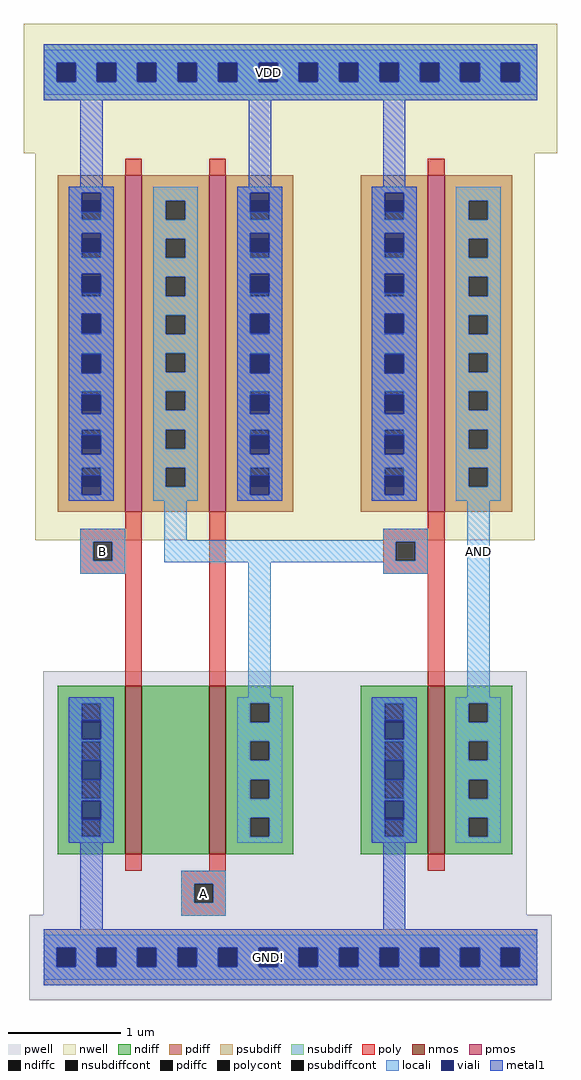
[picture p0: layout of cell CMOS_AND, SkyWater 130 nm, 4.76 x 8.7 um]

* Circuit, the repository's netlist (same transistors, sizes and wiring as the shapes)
* NGSPICE file created from CMOS_AND.ext - technology: sky130A

.subckt CMOS_AND GND AND A B VDD
X0 AND a_30_440# GND GND sky130_fd_pr__nfet_01v8 ad=9e+11p pd=4.2e+06u as=1.8e+12p ps=8.4e+06u w=1.5e+06u l=150000u
X1 VDD A a_30_440# VDD sky130_fd_pr__pfet_01v8 ad=5.4e+12p pd=2.16e+07u as=1.8e+12p ps=7.2e+06u w=3e+06u l=150000u
X2 a_30_n170# B GND GND sky130_fd_pr__nfet_01v8 ad=9e+11p pd=4.2e+06u as=0p ps=0u w=1.5e+06u l=150000u
X3 AND a_30_440# VDD VDD sky130_fd_pr__pfet_01v8 ad=1.8e+12p pd=7.2e+06u as=0p ps=0u w=3e+06u l=150000u
X4 a_30_440# B VDD VDD sky130_fd_pr__pfet_01v8 ad=0p pd=0u as=0p ps=0u w=3e+06u l=150000u
X5 a_30_440# A a_30_n170# GND sky130_fd_pr__nfet_01v8 ad=9e+11p pd=4.2e+06u as=0p ps=0u w=1.5e+06u l=150000u
.ends

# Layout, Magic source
magic
tech sky130A
magscale 1 2
<< nwell >>
rect -181 1080 771 1310
rect -160 390 730 1080
<< pwell >>
rect -146 -278 716 156
rect -171 -430 761 -278
<< nmos >>
rect 0 -170 30 130
rect 150 -170 180 130
rect 540 -170 570 130
<< pmos >>
rect 0 440 30 1040
rect 150 440 180 1040
rect 540 440 570 1040
<< ndiff >>
rect -120 99 0 130
rect -120 65 -77 99
rect -43 65 0 99
rect -120 31 0 65
rect -120 -3 -77 31
rect -43 -3 0 31
rect -120 -37 0 -3
rect -120 -71 -77 -37
rect -43 -71 0 -37
rect -120 -105 0 -71
rect -120 -139 -77 -105
rect -43 -139 0 -105
rect -120 -170 0 -139
rect 30 -170 150 130
rect 180 99 300 130
rect 180 65 223 99
rect 257 65 300 99
rect 180 31 300 65
rect 180 -3 223 31
rect 257 -3 300 31
rect 180 -37 300 -3
rect 180 -71 223 -37
rect 257 -71 300 -37
rect 180 -105 300 -71
rect 180 -139 223 -105
rect 257 -139 300 -105
rect 180 -170 300 -139
rect 420 99 540 130
rect 420 65 463 99
rect 497 65 540 99
rect 420 31 540 65
rect 420 -3 463 31
rect 497 -3 540 31
rect 420 -37 540 -3
rect 420 -71 463 -37
rect 497 -71 540 -37
rect 420 -105 540 -71
rect 420 -139 463 -105
rect 497 -139 540 -105
rect 420 -170 540 -139
rect 570 99 690 130
rect 570 65 613 99
rect 647 65 690 99
rect 570 31 690 65
rect 570 -3 613 31
rect 647 -3 690 31
rect 570 -37 690 -3
rect 570 -71 613 -37
rect 647 -71 690 -37
rect 570 -105 690 -71
rect 570 -139 613 -105
rect 647 -139 690 -105
rect 570 -170 690 -139
<< pdiff >>
rect -120 995 0 1040
rect -120 961 -77 995
rect -43 961 0 995
rect -120 927 0 961
rect -120 893 -77 927
rect -43 893 0 927
rect -120 859 0 893
rect -120 825 -77 859
rect -43 825 0 859
rect -120 791 0 825
rect -120 757 -77 791
rect -43 757 0 791
rect -120 723 0 757
rect -120 689 -77 723
rect -43 689 0 723
rect -120 655 0 689
rect -120 621 -77 655
rect -43 621 0 655
rect -120 587 0 621
rect -120 553 -77 587
rect -43 553 0 587
rect -120 519 0 553
rect -120 485 -77 519
rect -43 485 0 519
rect -120 440 0 485
rect 30 995 150 1040
rect 30 961 73 995
rect 107 961 150 995
rect 30 927 150 961
rect 30 893 73 927
rect 107 893 150 927
rect 30 859 150 893
rect 30 825 73 859
rect 107 825 150 859
rect 30 791 150 825
rect 30 757 73 791
rect 107 757 150 791
rect 30 723 150 757
rect 30 689 73 723
rect 107 689 150 723
rect 30 655 150 689
rect 30 621 73 655
rect 107 621 150 655
rect 30 587 150 621
rect 30 553 73 587
rect 107 553 150 587
rect 30 519 150 553
rect 30 485 73 519
rect 107 485 150 519
rect 30 440 150 485
rect 180 995 300 1040
rect 180 961 223 995
rect 257 961 300 995
rect 180 927 300 961
rect 180 893 223 927
rect 257 893 300 927
rect 180 859 300 893
rect 180 825 223 859
rect 257 825 300 859
rect 180 791 300 825
rect 180 757 223 791
rect 257 757 300 791
rect 180 723 300 757
rect 180 689 223 723
rect 257 689 300 723
rect 180 655 300 689
rect 180 621 223 655
rect 257 621 300 655
rect 180 587 300 621
rect 180 553 223 587
rect 257 553 300 587
rect 180 519 300 553
rect 180 485 223 519
rect 257 485 300 519
rect 180 440 300 485
rect 420 995 540 1040
rect 420 961 463 995
rect 497 961 540 995
rect 420 927 540 961
rect 420 893 463 927
rect 497 893 540 927
rect 420 859 540 893
rect 420 825 463 859
rect 497 825 540 859
rect 420 791 540 825
rect 420 757 463 791
rect 497 757 540 791
rect 420 723 540 757
rect 420 689 463 723
rect 497 689 540 723
rect 420 655 540 689
rect 420 621 463 655
rect 497 621 540 655
rect 420 587 540 621
rect 420 553 463 587
rect 497 553 540 587
rect 420 519 540 553
rect 420 485 463 519
rect 497 485 540 519
rect 420 440 540 485
rect 570 995 690 1040
rect 570 961 613 995
rect 647 961 690 995
rect 570 927 690 961
rect 570 893 613 927
rect 647 893 690 927
rect 570 859 690 893
rect 570 825 613 859
rect 647 825 690 859
rect 570 791 690 825
rect 570 757 613 791
rect 647 757 690 791
rect 570 723 690 757
rect 570 689 613 723
rect 647 689 690 723
rect 570 655 690 689
rect 570 621 613 655
rect 647 621 690 655
rect 570 587 690 621
rect 570 553 613 587
rect 647 553 690 587
rect 570 519 690 553
rect 570 485 613 519
rect 647 485 690 519
rect 570 440 690 485
<< ndiffc >>
rect -77 65 -43 99
rect -77 -3 -43 31
rect -77 -71 -43 -37
rect -77 -139 -43 -105
rect 223 65 257 99
rect 223 -3 257 31
rect 223 -71 257 -37
rect 223 -139 257 -105
rect 463 65 497 99
rect 463 -3 497 31
rect 463 -71 497 -37
rect 463 -139 497 -105
rect 613 65 647 99
rect 613 -3 647 31
rect 613 -71 647 -37
rect 613 -139 647 -105
<< pdiffc >>
rect -77 961 -43 995
rect -77 893 -43 927
rect -77 825 -43 859
rect -77 757 -43 791
rect -77 689 -43 723
rect -77 621 -43 655
rect -77 553 -43 587
rect -77 485 -43 519
rect 73 961 107 995
rect 73 893 107 927
rect 73 825 107 859
rect 73 757 107 791
rect 73 689 107 723
rect 73 621 107 655
rect 73 553 107 587
rect 73 485 107 519
rect 223 961 257 995
rect 223 893 257 927
rect 223 825 257 859
rect 223 757 257 791
rect 223 689 257 723
rect 223 621 257 655
rect 223 553 257 587
rect 223 485 257 519
rect 463 961 497 995
rect 463 893 497 927
rect 463 825 497 859
rect 463 757 497 791
rect 463 689 497 723
rect 463 621 497 655
rect 463 553 497 587
rect 463 485 497 519
rect 613 961 647 995
rect 613 893 647 927
rect 613 825 647 859
rect 613 757 647 791
rect 613 689 647 723
rect 613 621 647 655
rect 613 553 647 587
rect 613 485 647 519
<< psubdiff >>
rect -145 -337 735 -304
rect -145 -371 -122 -337
rect -88 -371 -50 -337
rect -16 -371 22 -337
rect 56 -371 94 -337
rect 128 -371 166 -337
rect 200 -371 238 -337
rect 272 -371 310 -337
rect 344 -371 382 -337
rect 416 -371 454 -337
rect 488 -371 526 -337
rect 560 -371 598 -337
rect 632 -371 670 -337
rect 704 -371 735 -337
rect -145 -404 735 -371
<< nsubdiff >>
rect -145 1241 735 1274
rect -145 1207 -122 1241
rect -88 1207 -50 1241
rect -16 1207 22 1241
rect 56 1207 94 1241
rect 128 1207 166 1241
rect 200 1207 238 1241
rect 272 1207 310 1241
rect 344 1207 382 1241
rect 416 1207 454 1241
rect 488 1207 526 1241
rect 560 1207 598 1241
rect 632 1207 670 1241
rect 704 1207 735 1241
rect -145 1174 735 1207
<< psubdiffcont >>
rect -122 -371 -88 -337
rect -50 -371 -16 -337
rect 22 -371 56 -337
rect 94 -371 128 -337
rect 166 -371 200 -337
rect 238 -371 272 -337
rect 310 -371 344 -337
rect 382 -371 416 -337
rect 454 -371 488 -337
rect 526 -371 560 -337
rect 598 -371 632 -337
rect 670 -371 704 -337
<< nsubdiffcont >>
rect -122 1207 -88 1241
rect -50 1207 -16 1241
rect 22 1207 56 1241
rect 94 1207 128 1241
rect 166 1207 200 1241
rect 238 1207 272 1241
rect 310 1207 344 1241
rect 382 1207 416 1241
rect 454 1207 488 1241
rect 526 1207 560 1241
rect 598 1207 632 1241
rect 670 1207 704 1241
<< poly >>
rect 0 1040 30 1070
rect 150 1040 180 1070
rect 540 1040 570 1070
rect 0 410 30 440
rect -80 387 30 410
rect -80 353 -57 387
rect -23 353 30 387
rect -80 330 30 353
rect 0 130 30 330
rect 150 130 180 440
rect 540 410 570 440
rect 460 387 570 410
rect 460 353 483 387
rect 517 353 570 387
rect 460 330 570 353
rect 540 130 570 330
rect 0 -200 30 -170
rect 150 -200 180 -170
rect 540 -200 570 -170
rect 100 -223 180 -200
rect 100 -257 123 -223
rect 157 -257 180 -223
rect 100 -280 180 -257
<< polycont >>
rect -57 353 -23 387
rect 483 353 517 387
rect 123 -257 157 -223
<< locali >>
rect -145 1241 735 1264
rect -145 1207 -122 1241
rect -88 1207 -50 1241
rect -16 1207 22 1241
rect 56 1207 94 1241
rect 128 1207 166 1241
rect 200 1207 238 1241
rect 272 1207 310 1241
rect 344 1207 382 1241
rect 416 1207 454 1241
rect 488 1207 526 1241
rect 560 1207 598 1241
rect 632 1207 670 1241
rect 704 1207 735 1241
rect -145 1184 735 1207
rect -100 1009 -20 1020
rect -100 961 -77 1009
rect -43 961 -20 1009
rect -100 937 -20 961
rect -100 893 -77 937
rect -43 893 -20 937
rect -100 865 -20 893
rect -100 825 -77 865
rect -43 825 -20 865
rect -100 793 -20 825
rect -100 757 -77 793
rect -43 757 -20 793
rect -100 723 -20 757
rect -100 687 -77 723
rect -43 687 -20 723
rect -100 655 -20 687
rect -100 615 -77 655
rect -43 615 -20 655
rect -100 587 -20 615
rect -100 543 -77 587
rect -43 543 -20 587
rect -100 519 -20 543
rect -100 471 -77 519
rect -43 471 -20 519
rect -100 460 -20 471
rect 50 995 130 1020
rect 50 961 73 995
rect 107 961 130 995
rect 50 927 130 961
rect 50 893 73 927
rect 107 893 130 927
rect 50 859 130 893
rect 50 825 73 859
rect 107 825 130 859
rect 50 791 130 825
rect 50 757 73 791
rect 107 757 130 791
rect 50 723 130 757
rect 50 689 73 723
rect 107 689 130 723
rect 50 655 130 689
rect 50 621 73 655
rect 107 621 130 655
rect 50 587 130 621
rect 50 553 73 587
rect 107 553 130 587
rect 50 519 130 553
rect 50 485 73 519
rect 107 485 130 519
rect 50 460 130 485
rect 200 1009 280 1020
rect 200 961 223 1009
rect 257 961 280 1009
rect 200 937 280 961
rect 200 893 223 937
rect 257 893 280 937
rect 200 865 280 893
rect 200 825 223 865
rect 257 825 280 865
rect 200 793 280 825
rect 200 757 223 793
rect 257 757 280 793
rect 200 723 280 757
rect 200 687 223 723
rect 257 687 280 723
rect 200 655 280 687
rect 200 615 223 655
rect 257 615 280 655
rect 200 587 280 615
rect 200 543 223 587
rect 257 543 280 587
rect 200 519 280 543
rect 200 471 223 519
rect 257 471 280 519
rect 200 460 280 471
rect 440 1009 520 1020
rect 440 961 463 1009
rect 497 961 520 1009
rect 440 937 520 961
rect 440 893 463 937
rect 497 893 520 937
rect 440 865 520 893
rect 440 825 463 865
rect 497 825 520 865
rect 440 793 520 825
rect 440 757 463 793
rect 497 757 520 793
rect 440 723 520 757
rect 440 687 463 723
rect 497 687 520 723
rect 440 655 520 687
rect 440 615 463 655
rect 497 615 520 655
rect 440 587 520 615
rect 440 543 463 587
rect 497 543 520 587
rect 440 519 520 543
rect 440 471 463 519
rect 497 471 520 519
rect 440 460 520 471
rect 590 995 670 1020
rect 590 961 613 995
rect 647 961 670 995
rect 590 927 670 961
rect 590 893 613 927
rect 647 893 670 927
rect 590 859 670 893
rect 590 825 613 859
rect 647 825 670 859
rect 590 791 670 825
rect 590 757 613 791
rect 647 757 670 791
rect 590 723 670 757
rect 590 689 613 723
rect 647 689 670 723
rect 590 655 670 689
rect 590 621 613 655
rect 647 621 670 655
rect 590 587 670 621
rect 590 553 613 587
rect 647 553 670 587
rect 590 519 670 553
rect 590 485 613 519
rect 647 485 670 519
rect 590 460 670 485
rect -80 387 0 410
rect -80 353 -57 387
rect -23 353 0 387
rect -80 330 0 353
rect 70 390 110 460
rect 460 390 540 410
rect 70 387 540 390
rect 70 353 483 387
rect 517 353 540 387
rect 70 350 540 353
rect 220 110 260 350
rect 460 330 540 350
rect 610 110 650 460
rect -100 99 -20 110
rect -100 35 -77 99
rect -43 35 -20 99
rect -100 31 -20 35
rect -100 -71 -77 31
rect -43 -71 -20 31
rect -100 -75 -20 -71
rect -100 -139 -77 -75
rect -43 -139 -20 -75
rect -100 -150 -20 -139
rect 200 99 280 110
rect 200 65 223 99
rect 257 65 280 99
rect 200 31 280 65
rect 200 -3 223 31
rect 257 -3 280 31
rect 200 -37 280 -3
rect 200 -71 223 -37
rect 257 -71 280 -37
rect 200 -105 280 -71
rect 200 -139 223 -105
rect 257 -139 280 -105
rect 200 -150 280 -139
rect 440 99 520 110
rect 440 35 463 99
rect 497 35 520 99
rect 440 31 520 35
rect 440 -71 463 31
rect 497 -71 520 31
rect 440 -75 520 -71
rect 440 -139 463 -75
rect 497 -139 520 -75
rect 440 -150 520 -139
rect 590 99 670 110
rect 590 65 613 99
rect 647 65 670 99
rect 590 31 670 65
rect 590 -3 613 31
rect 647 -3 670 31
rect 590 -37 670 -3
rect 590 -71 613 -37
rect 647 -71 670 -37
rect 590 -105 670 -71
rect 590 -139 613 -105
rect 647 -139 670 -105
rect 590 -150 670 -139
rect 100 -223 180 -200
rect 100 -257 123 -223
rect 157 -257 180 -223
rect 100 -280 180 -257
rect -145 -337 735 -314
rect -145 -371 -122 -337
rect -88 -371 -50 -337
rect -16 -371 22 -337
rect 56 -371 94 -337
rect 128 -371 166 -337
rect 200 -371 238 -337
rect 272 -371 310 -337
rect 344 -371 382 -337
rect 416 -371 454 -337
rect 488 -371 526 -337
rect 560 -371 598 -337
rect 632 -371 670 -337
rect 704 -371 735 -337
rect -145 -394 735 -371
<< viali >>
rect -122 1207 -88 1241
rect -50 1207 -16 1241
rect 22 1207 56 1241
rect 94 1207 128 1241
rect 166 1207 200 1241
rect 238 1207 272 1241
rect 310 1207 344 1241
rect 382 1207 416 1241
rect 454 1207 488 1241
rect 526 1207 560 1241
rect 598 1207 632 1241
rect 670 1207 704 1241
rect -77 995 -43 1009
rect -77 975 -43 995
rect -77 927 -43 937
rect -77 903 -43 927
rect -77 859 -43 865
rect -77 831 -43 859
rect -77 791 -43 793
rect -77 759 -43 791
rect -77 689 -43 721
rect -77 687 -43 689
rect -77 621 -43 649
rect -77 615 -43 621
rect -77 553 -43 577
rect -77 543 -43 553
rect -77 485 -43 505
rect -77 471 -43 485
rect 223 995 257 1009
rect 223 975 257 995
rect 223 927 257 937
rect 223 903 257 927
rect 223 859 257 865
rect 223 831 257 859
rect 223 791 257 793
rect 223 759 257 791
rect 223 689 257 721
rect 223 687 257 689
rect 223 621 257 649
rect 223 615 257 621
rect 223 553 257 577
rect 223 543 257 553
rect 223 485 257 505
rect 223 471 257 485
rect 463 995 497 1009
rect 463 975 497 995
rect 463 927 497 937
rect 463 903 497 927
rect 463 859 497 865
rect 463 831 497 859
rect 463 791 497 793
rect 463 759 497 791
rect 463 689 497 721
rect 463 687 497 689
rect 463 621 497 649
rect 463 615 497 621
rect 463 553 497 577
rect 463 543 497 553
rect 463 485 497 505
rect 463 471 497 485
rect -77 65 -43 69
rect -77 35 -43 65
rect -77 -37 -43 -3
rect -77 -105 -43 -75
rect -77 -109 -43 -105
rect 463 65 497 69
rect 463 35 497 65
rect 463 -37 497 -3
rect 463 -105 497 -75
rect 463 -109 497 -105
rect -122 -371 -88 -337
rect -50 -371 -16 -337
rect 22 -371 56 -337
rect 94 -371 128 -337
rect 166 -371 200 -337
rect 238 -371 272 -337
rect 310 -371 344 -337
rect 382 -371 416 -337
rect 454 -371 488 -337
rect 526 -371 560 -337
rect 598 -371 632 -337
rect 670 -371 704 -337
<< metal1 >>
rect -145 1241 735 1274
rect -145 1207 -122 1241
rect -88 1207 -50 1241
rect -16 1207 22 1241
rect 56 1207 94 1241
rect 128 1207 166 1241
rect 200 1207 238 1241
rect 272 1207 310 1241
rect 344 1207 382 1241
rect 416 1207 454 1241
rect 488 1207 526 1241
rect 560 1207 598 1241
rect 632 1207 670 1241
rect 704 1207 735 1241
rect -145 1174 735 1207
rect -80 1020 -40 1174
rect 221 1020 261 1174
rect 460 1020 500 1174
rect -100 1009 -20 1020
rect -100 975 -77 1009
rect -43 975 -20 1009
rect -100 937 -20 975
rect -100 903 -77 937
rect -43 903 -20 937
rect -100 865 -20 903
rect -100 831 -77 865
rect -43 831 -20 865
rect -100 793 -20 831
rect -100 759 -77 793
rect -43 759 -20 793
rect -100 721 -20 759
rect -100 687 -77 721
rect -43 687 -20 721
rect -100 649 -20 687
rect -100 615 -77 649
rect -43 615 -20 649
rect -100 577 -20 615
rect -100 543 -77 577
rect -43 543 -20 577
rect -100 505 -20 543
rect -100 471 -77 505
rect -43 471 -20 505
rect -100 460 -20 471
rect 200 1009 280 1020
rect 200 975 223 1009
rect 257 975 280 1009
rect 200 937 280 975
rect 200 903 223 937
rect 257 903 280 937
rect 200 865 280 903
rect 200 831 223 865
rect 257 831 280 865
rect 200 793 280 831
rect 200 759 223 793
rect 257 759 280 793
rect 200 721 280 759
rect 200 687 223 721
rect 257 687 280 721
rect 200 649 280 687
rect 200 615 223 649
rect 257 615 280 649
rect 200 577 280 615
rect 200 543 223 577
rect 257 543 280 577
rect 200 505 280 543
rect 200 471 223 505
rect 257 471 280 505
rect 200 460 280 471
rect 440 1009 520 1020
rect 440 975 463 1009
rect 497 975 520 1009
rect 440 937 520 975
rect 440 903 463 937
rect 497 903 520 937
rect 440 865 520 903
rect 440 831 463 865
rect 497 831 520 865
rect 440 793 520 831
rect 440 759 463 793
rect 497 759 520 793
rect 440 721 520 759
rect 440 687 463 721
rect 497 687 520 721
rect 440 649 520 687
rect 440 615 463 649
rect 497 615 520 649
rect 440 577 520 615
rect 440 543 463 577
rect 497 543 520 577
rect 440 505 520 543
rect 440 471 463 505
rect 497 471 520 505
rect 440 460 520 471
rect -100 69 -20 110
rect -100 35 -77 69
rect -43 35 -20 69
rect -100 -3 -20 35
rect -100 -37 -77 -3
rect -43 -37 -20 -3
rect -100 -75 -20 -37
rect -100 -109 -77 -75
rect -43 -109 -20 -75
rect -100 -150 -20 -109
rect 440 69 520 110
rect 440 35 463 69
rect 497 35 520 69
rect 440 -3 520 35
rect 440 -37 463 -3
rect 497 -37 520 -3
rect 440 -75 520 -37
rect 440 -109 463 -75
rect 497 -109 520 -75
rect 440 -150 520 -109
rect -80 -304 -40 -150
rect 460 -304 500 -150
rect -145 -337 735 -304
rect -145 -371 -122 -337
rect -88 -371 -50 -337
rect -16 -371 22 -337
rect 56 -371 94 -337
rect 128 -371 166 -337
rect 200 -371 238 -337
rect 272 -371 310 -337
rect 344 -371 382 -337
rect 416 -371 454 -337
rect 488 -371 526 -337
rect 560 -371 598 -337
rect 632 -371 670 -337
rect 704 -371 735 -337
rect -145 -404 735 -371
<< labels >>
rlabel metal1 s 235 -374 275 -334 4 GND!
port 1 nsew
rlabel metal1 s 235 1204 275 1244 4 VDD
port 2 nsew
flabel locali s 613 353 647 387 2 FreeSans 2000 0 0 0 AND
port 3 nsew
flabel locali s 123 -257 157 -223 2 FreeSans 2000 0 0 0 A
port 4 nsew
flabel locali s -57 353 -23 387 2 FreeSans 2000 0 0 0 B
port 5 nsew
<< properties >>
string path 2.400 5.100 2.400 5.870 
<< end >>
